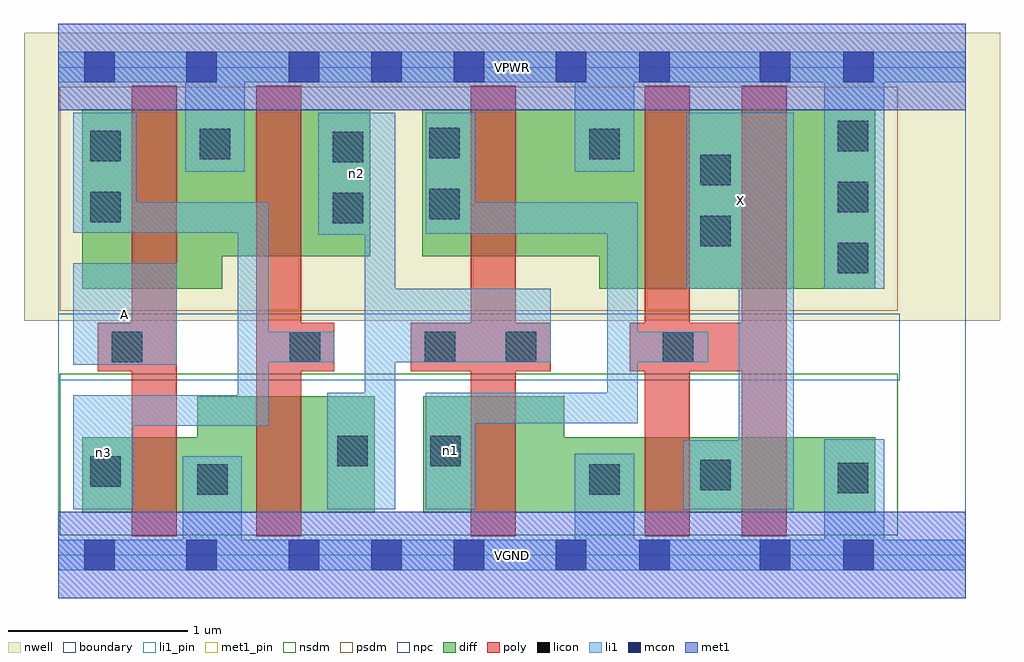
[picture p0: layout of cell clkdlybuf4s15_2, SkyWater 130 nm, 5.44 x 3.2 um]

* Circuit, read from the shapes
.subckt clkdlybuf4s15_2 A VGND VPWR X n1 n2 n3
XM1 VGND A n3 VSUBS sky130_fd_pr__nfet_01v8 w=0.42 l=0.25
XM2 n2 n3 VGND VSUBS sky130_fd_pr__nfet_01v8 w=0.65 l=0.25
XM3 VGND n2 n1 VSUBS sky130_fd_pr__nfet_01v8 w=0.65 l=0.25
XM4 X n1 VGND VSUBS sky130_fd_pr__nfet_01v8 w=0.42 l=0.25 m=2
XM5 VPWR A n3 n4 sky130_fd_pr__pfet_01v8 w=1 l=0.25
XM6 n2 n3 VPWR n4 sky130_fd_pr__pfet_01v8 w=0.82 l=0.25
XM7 VPWR n2 n1 n4 sky130_fd_pr__pfet_01v8 w=0.82 l=0.25
XM8 X n1 VPWR n4 sky130_fd_pr__pfet_01v8 w=1 l=0.25 m=2
.ends

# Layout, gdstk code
import gdstk
lib = gdstk.Library(unit=1e-6, precision=1e-09)
def R(c, l, rs):  # rectangles x0, y0, x1, y1
    for r in rs: c.add(gdstk.rectangle(r[:2], r[2:], *l))
def A(c, l, x, y, w, h, nx, ny, dx, dy):  # array of equal rectangles
    R(c, l, [(x+i*dx, y+j*dy, x+i*dx+w, y+j*dy+h) for i in range(nx) for j in range(ny)])
nwell = (64, 20)
diff = (65, 20)
poly = (66, 20)
licon = (66, 44)
li1_pin = (67, 16)
li1 = (67, 20)
mcon = (67, 44)
met1_pin = (68, 16)
met1 = (68, 20)
nsdm = (93, 44)
psdm = (94, 20)
npc = (95, 20)
boundary = (235, 4)

clkdlybuf4s15_2 = lib.new_cell('clkdlybuf4s15_2')
R(clkdlybuf4s15_2, nwell, [(-0.19,1.305,5.25,2.91), (0,1.305,5.06,2.91)])
R(clkdlybuf4s15_2, diff, [(0.135,0.235,1.765,0.655), (0.775,0.235,1.765,0.885), (2.035,0.235,4.555,0.655), (2.035,0.235,2.82,0.885), (0.135,1.485,0.915,2.485), (3.015,1.485,4.555,2.485), (0.135,1.665,1.74,2.485), (2.03,1.665,4.555,2.485)])
R(clkdlybuf4s15_2, poly, [(0.41,0.105,0.66,2.615), (1.105,0.105,1.355,2.615), (2.3,0.105,2.55,2.615), (3.27,0.105,3.52,2.615), (3.81,0.105,4.06,2.615), (0.22,1.025,0.66,1.295), (1.105,1.025,1.54,1.295), (1.965,1.025,2.745,1.295), (3.185,1.025,4.06,1.295)])
A(clkdlybuf4s15_2, licon, 4.345, 1.57, 0.17, 0.17, 1, 3, 0, 0.34)
R(clkdlybuf4s15_2, licon, [(0.775,0.335,0.945,0.505), (2.96,0.335,3.13,0.505), (4.345,0.345,4.515,0.515), (3.58,0.36,3.75,0.53), (0.18,0.38,0.35,0.55), (1.555,0.495,1.725,0.665), (2.075,0.495,2.245,0.665), (0.3,1.075,0.47,1.245), (1.29,1.075,1.46,1.245), (2.045,1.075,2.215,1.245), (2.495,1.075,2.665,1.245), (3.37,1.075,3.54,1.245), (3.58,1.72,3.75,1.89), (1.53,1.85,1.7,2.02), (0.18,1.855,0.35,2.025), (2.07,1.87,2.24,2.04), (3.58,2.06,3.75,2.23), (1.53,2.19,1.7,2.36), (0.18,2.195,0.35,2.365), (0.79,2.205,0.96,2.375), (2.96,2.205,3.13,2.375), (2.07,2.21,2.24,2.38)])
R(clkdlybuf4s15_2, li1_pin, [(0.085,1.06,0.66,1.625), (3.505,1.485,4.1,2.465)])
R(clkdlybuf4s15_2, li1, [(0,-0.085,5.06,0.085), (0.695,-0.085,1.025,0.55), (2.88,-0.085,3.21,0.565), (4.27,-0.085,4.605,0.645), (0.085,0.255,0.42,0.89), (1.5,0.255,1.88,0.905), (1.71,0.255,1.88,2.465), (2.05,0.255,2.325,0.905), (3.485,0.255,4.1,0.64), (3.795,0.255,4.1,2.465), (0.085,0.72,1.175,0.89), (1,0.72,1.175,1.965), (2.05,0.735,3.23,0.905), (3.06,0.735,3.23,1.965), (0.085,1.06,0.66,1.625), (1,1.075,1.54,1.245), (1.71,1.075,2.745,1.485), (3.06,1.075,3.625,1.245), (3.505,1.485,4.1,2.465), (4.27,1.485,4.605,2.805), (1.45,1.785,1.88,2.465), (2.05,1.79,2.325,2.465), (2.05,1.79,3.23,1.965), (0.085,1.795,1.175,1.965), (0.085,1.795,0.435,2.465), (0.71,2.135,1.04,2.805), (2.88,2.135,3.21,2.805), (0,2.635,5.06,2.805)])
A(clkdlybuf4s15_2, mcon, 0.145, -0.085, 0.17, 0.17, 3, 2, 0.57, 2.72)
R(clkdlybuf4s15_2, mcon, [(1.745,-0.085,1.915,0.085), (2.205,-0.085,2.375,0.085), (2.775,-0.085,2.945,0.085), (3.24,-0.085,3.41,0.085), (3.91,-0.085,4.08,0.085), (4.375,-0.085,4.545,0.085), (1.745,2.635,1.915,2.805), (2.205,2.635,2.375,2.805), (2.775,2.635,2.945,2.805), (3.24,2.635,3.41,2.805), (3.91,2.635,4.08,2.805), (4.375,2.635,4.545,2.805)])
R(clkdlybuf4s15_2, met1_pin, [(0,-0.24,5.06,0.24), (0,2.48,5.06,2.96)])
R(clkdlybuf4s15_2, met1, [(0,-0.24,5.06,0.24), (0,2.48,5.06,2.96)])
R(clkdlybuf4s15_2, nsdm, [(0.01,0.11,4.68,1.01)])
R(clkdlybuf4s15_2, psdm, [(0.01,1.36,4.68,2.61)])
R(clkdlybuf4s15_2, npc, [(0,0.975,4.69,1.345)])
R(clkdlybuf4s15_2, boundary, [(0,0,5.06,2.72)])
clkdlybuf4s15_2.add(gdstk.Label('A', (0.372,1.342), layer=67, texttype=5))
clkdlybuf4s15_2.add(gdstk.Label('X', (3.802,1.975), layer=67, texttype=5))
clkdlybuf4s15_2.add(gdstk.Label('n3', (0.252,0.572), layer=67, texttype=5))
clkdlybuf4s15_2.add(gdstk.Label('n2', (1.665,2.125), layer=67, texttype=5))
clkdlybuf4s15_2.add(gdstk.Label('n1', (2.187,0.58), layer=67, texttype=5))
clkdlybuf4s15_2.add(gdstk.Label('VPWR', (2.53,2.72), layer=68, texttype=5))
clkdlybuf4s15_2.add(gdstk.Label('VGND', (2.53,0), layer=68, texttype=5))
clkdlybuf4s15_2.add(gdstk.Label('A', (0.372,1.342), layer=67, texttype=16))
clkdlybuf4s15_2.add(gdstk.Label('X', (3.802,1.975), layer=67, texttype=16))
clkdlybuf4s15_2.add(gdstk.Label('VPWR', (2.53,2.72), layer=68, texttype=16))
clkdlybuf4s15_2.add(gdstk.Label('VGND', (2.53,0), layer=68, texttype=16))

lib.write_gds('clkdlybuf4s15_2.gds')
